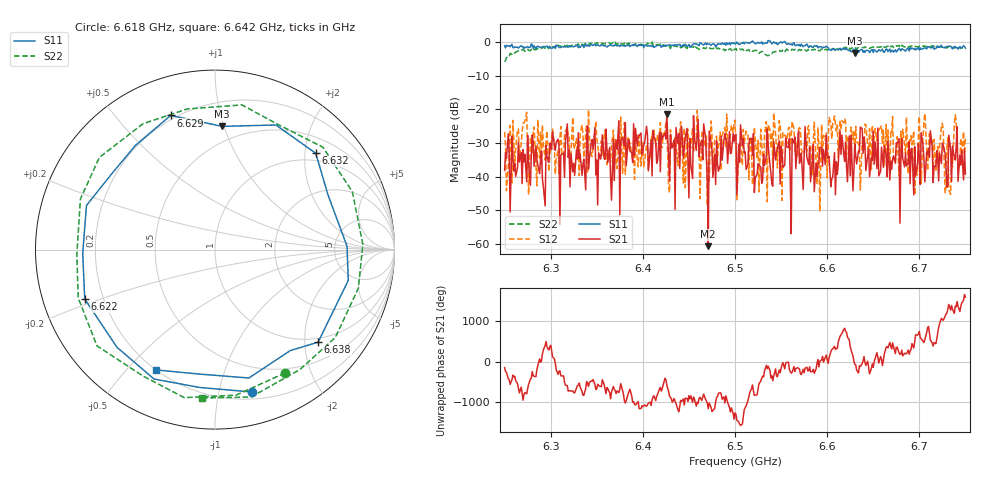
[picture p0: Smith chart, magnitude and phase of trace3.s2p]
# Hz S RI R 50
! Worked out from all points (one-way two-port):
!   401 points, 6.25 GHz to 6.75 GHz, reference 50 ohm
!   highest |S21| = -21.44 dB at 6.426 GHz (marker M1); lowest = -60.6 dB at 6.471 GHz (marker M2)
!   lowest |S11| = -3.3 dB at 6.63 GHz (marker M3), VSWR 5.40, Z = 18.9 + j49.3 ohm
!   |S11| at or under -10 dB: nowhere
!   |S22| runs from -5.9 to 0.0 dB; largest |S21 - S12| = 0.13
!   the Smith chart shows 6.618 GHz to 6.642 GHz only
!   S11 on the Smith chart (normalised r, x): 6.618 GHz: 0.26, -1.26; 6.622 GHz: 0.13, -0.18; 6.629 GHz: 0.18, +0.71; 6.632 GHz: 0.83, +2.23; 6.638 GHz: 0.90, -2.31; 6.642 GHz: 0.20, -0.60
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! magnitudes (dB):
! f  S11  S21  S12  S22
! 6.25 GHz  -1.1  -38.1  -26.7  -5.9
! 6.271 GHz  -2.0  -35.6  -24.1  -2.6
! 6.278 GHz  -1.5  -42.6  -28.7  -2.6
! 6.334 GHz  -1.0  -39.6  -24.6  -0.7
! 6.418 GHz  -1.0  -26.8  -31.1  -0.9
! 6.426 GHz  -1.1  -21.4  -25.1  -0.9
! 6.451 GHz  -1.3  -28.6  -32.2  -1.5
! 6.458 GHz  -0.6  -32.2  -28.7  -1.7
! 6.471 GHz  -0.7  -60.6  -35.6  -1.8
! 6.5 GHz  -0.6  -27.6  -23.2  -2.2
! 6.584 GHz  -1.5  -35.0  -39.4  -2.3
! 6.618 GHz  -1.7  -33.4  -24.0  -2.0
! 6.622 GHz  -2.2  -41.5  -27.9  -1.4
! 6.629 GHz  -2.1  -38.2  -26.7  -1.9
! 6.63 GHz  -3.3  -30.3  -33.0  -2.0
! 6.632 GHz  -2.2  -36.2  -29.6  -2.2
! 6.638 GHz  -2.2  -25.7  -29.7  -1.6
! 6.642 GHz  -2.5  -38.2  -24.6  -1.6
! 6.668 GHz  -2.1  -41.0  -39.1  -1.7
! 6.724 GHz  -1.0  -36.1  -24.8  -1.6
! 6.731 GHz  -1.3  -42.6  -28.4  -1.6
! 6.75 GHz  -1.8  -39.2  -28.0  -2.0
